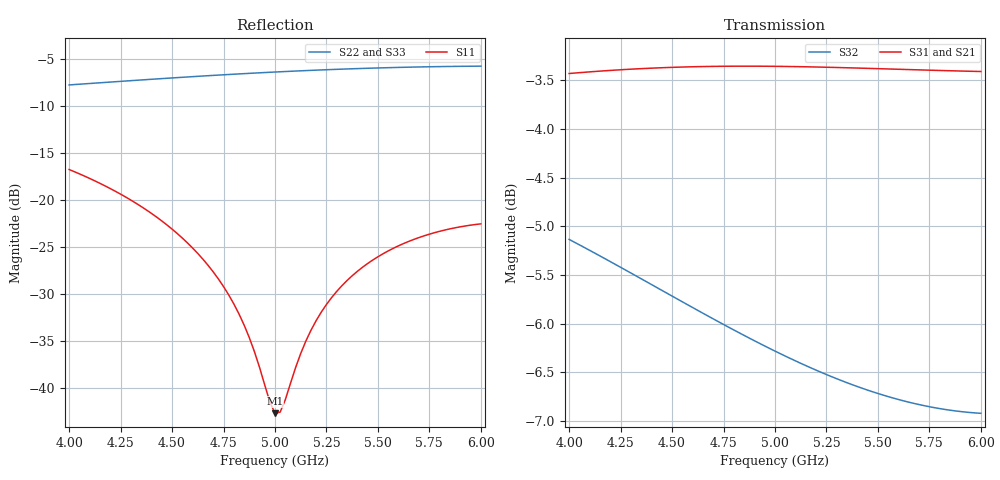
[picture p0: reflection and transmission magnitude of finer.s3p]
! yapnr rf: divider-osh-w-star-sched, footprint re-simulated (refine 3)
! spec sha256 728df57683abed8ddd9652d9c29a1a1523d264d5113645caf1ac39285962e076
! 3 ports renormalized to 50 ohm, e^(+jwt) convention
# GHz S RI R 50
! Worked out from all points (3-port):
!   81 points, 4 GHz to 6 GHz, reference 50 ohm
!   strongest paths, dB at 4 GHz, 4.5 GHz, 5 GHz, 5.5 GHz, 6 GHz:
!     S31: -3.4, -3.4, -3.4, -3.4, -3.4
!     S21: -3.4, -3.4, -3.4, -3.4, -3.4
!     S32: -5.1, -5.7, -6.3, -6.7, -6.9
!   lowest |S11| = -42.7 dB at 5 GHz (marker M1), VSWR 1.01, Z = 49.7 + j0.675 ohm
!   |S11| at or under -10 dB: start of sweep to end of sweep
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4  0.0376 0.1407  -0.6549 -0.1591  -0.6549 -0.1591
   -0.6547 -0.1596  0.3541 -0.2086  -0.4548 0.3158
   -0.6547 -0.1596  -0.4548 0.3158  0.3541 -0.2086
4.375  0.0419 0.0782  -0.6764 0.0394  -0.6764 0.0394
       -0.6769 0.0384  0.2757 -0.3411  -0.3106 0.4253
       -0.6769 0.0384  -0.3106 0.4253  0.2757 -0.3411
4.65  0.0281 0.0395  -0.6527 0.1858  -0.6527 0.1858
      -0.6538 0.1847  0.1915 -0.4165  -0.1956 0.4681
      -0.6538 0.1847  -0.1956 0.4681  0.1915 -0.4165
4.825  0.0139 0.0205  -0.6204 0.275  -0.6204 0.275
       -0.6221 0.274  0.1292 -0.4523  -0.123 0.4803
       -0.6221 0.274  -0.123 0.4803  0.1292 -0.4523
5  -0.00274 0.00679  -0.5756 0.3586  -0.5756 0.3586
   -0.5777 0.358  0.0621 -0.4774  -0.0527 0.4822
   -0.5777 0.358  -0.0527 0.4822  0.0621 -0.4774
5.025  -0.00522 0.00528  -0.5682 0.37  -0.5682 0.37
       -0.5704 0.3695  0.0522 -0.48  -0.0429 0.4818
       -0.5704 0.3695  -0.0429 0.4818  0.0522 -0.48
5.2  -0.0227 -0.00215  -0.5104 0.4452  -0.5104 0.4452
     -0.5129 0.4451  -0.0181 -0.4923  0.0234 0.4737
     -0.5129 0.4451  0.0234 0.4737  -0.0181 -0.4923
5.375  -0.0393 -0.00438  -0.4425 0.5112  -0.4425 0.5112
       -0.4452 0.5118  -0.0891 -0.493  0.0855 0.4583
       -0.4452 0.5118  0.0855 0.4583  -0.0891 -0.493
5.65  -0.0603 0.000715  -0.3194 0.5938  -0.3194 0.5938
      -0.322 0.5956  -0.1975 -0.4712  0.1743 0.422
      -0.322 0.5956  0.1743 0.422  -0.1975 -0.4712
6  -0.0731 0.0157  -0.1421 0.657  -0.1421 0.657
   -0.1437 0.66  -0.3198 -0.4065  0.2725 0.359
   -0.1437 0.66  0.2725 0.359  -0.3198 -0.4065
